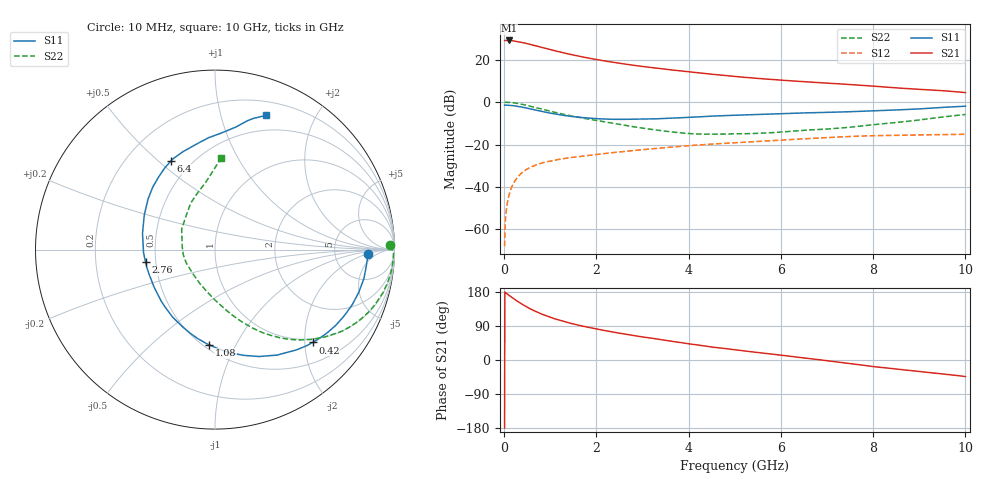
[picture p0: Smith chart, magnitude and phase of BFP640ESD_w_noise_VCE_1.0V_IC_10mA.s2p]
! Infineon Technologies  Discrete & RF Semiconductors
! BFP640ESD
! VCE =  1.0 V,  IC =  10 mA
! Common Emitter S-Parameters:  Jan 2016
# GHz  S  MA  R  50
!  f  S11  S21  S12  S22
! GHz  MAG  ANG  MAG  ANG  MAG  ANG  MAG  ANG
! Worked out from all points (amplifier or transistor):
!   233 points, 10 MHz to 10 GHz, reference 50 ohm
!   highest |S21| = 29.1 dB at 100 MHz (marker M1)
!   |S21| within 3 dB of that: start of sweep to 767.5 MHz
!   unconditionally stable (mu >= 1): 4.059 GHz to 9.25 GHz
!   at 200 MHz: K = 0.10, MSG = 33.7 dB, |S12| = -38.4 dB
!   at 1.74 GHz: K = 0.70, MSG = 23.2 dB, |S12| = -25.3 dB
!   at 10 GHz: K = 0.91, MSG = 9.9 dB, |S12| = -15.2 dB
!   lowest NFmin = 0.68 dB at 450 MHz
!   S11 on the Smith chart (normalised r, x): 10 MHz: 12, -2; 420 MHz: 0.92, -2.17; 1.08 GHz: 0.53, -0.79; 2.76 GHz: 0.44, -0.07; 6.4 GHz: 0.39, +0.55; 10 GHz: 0.33, +1.40
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0.01  0.8516 -1.8  28.45 -179.6  0.0004 74.6  0.9777 1.4
0.05  0.8489 -5.7  28.43 175.5  0.003 86.9  0.9936 -3.7
0.1  0.8451 -11.1  28.5 171.4  0.0061 84.3  0.989 -7.3
0.2  0.8245 -21.7  27.86 162.5  0.012 78.2  0.9652 -14.6
0.26  0.8065 -27.9  27.17 157.3  0.0152 75.1  0.944 -18.7
0.42  0.7505 -43.6  25.16 145.0  0.0231 67.5  0.8739 -28.7
0.5  0.7201 -50.9  24.02 139.3  0.0265 64.3  0.8352 -33.3
0.6  0.6821 -59.5  22.55 132.8  0.0301 60.7  0.7848 -38.2
0.7  0.6447 -67.5  21.14 127.1  0.0333 57.7  0.7374 -42.7
0.9  0.58 -82.0  18.52 117.0  0.0386 53.0  0.6503 -50.3
1.08  0.531 -93.6  16.49 109.4  0.0425 50.2  0.582 -55.9
1.4  0.4685 -112.1  13.62 98.0  0.0484 46.6  0.4858 -64.3
1.68  0.4339 -125.9  11.77 90.0  0.0532 44.6  0.4242 -70.1
2.2  0.3987 -148.3  9.282 77.2  0.0618 42.1  0.3381 -80.2
2.76  0.3934 -169.7  7.512 65.5  0.0713 39.4  0.2664 -93.2
3.4  0.4086 170.3  6.14 53.7  0.0828 35.7  0.2129 -110.9
4.5  0.4675 142.9  4.559 34.2  0.1024 27.9  0.1764 -154.3
5.1  0.4948 133.5  3.944 25.5  0.1119 23.5  0.1792 -173.9
6.4  0.5515 116.4  3.085 6.9  0.1345 13.6  0.2132 150.4
6.8  0.5659 110.9  2.895 1.2  0.1421 10.0  0.2253 142.3
8.4  0.6472 87.5  2.209 -22.6  0.164 -6.8  0.3226 108.9
10  0.8013 69.1  1.681 -43.7  0.174 -21.0  0.5113 86.2
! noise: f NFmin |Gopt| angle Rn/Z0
0.45  0.68  0.19  6  0.11
0.9  0.7  0.18  20  0.1
1.9  0.72  0.13  35  0.1
2.4  0.75  0.09  56  0.1
5.5  1.03  0.31  -133  0.1
10  1.78  0.59  -80  0.7
